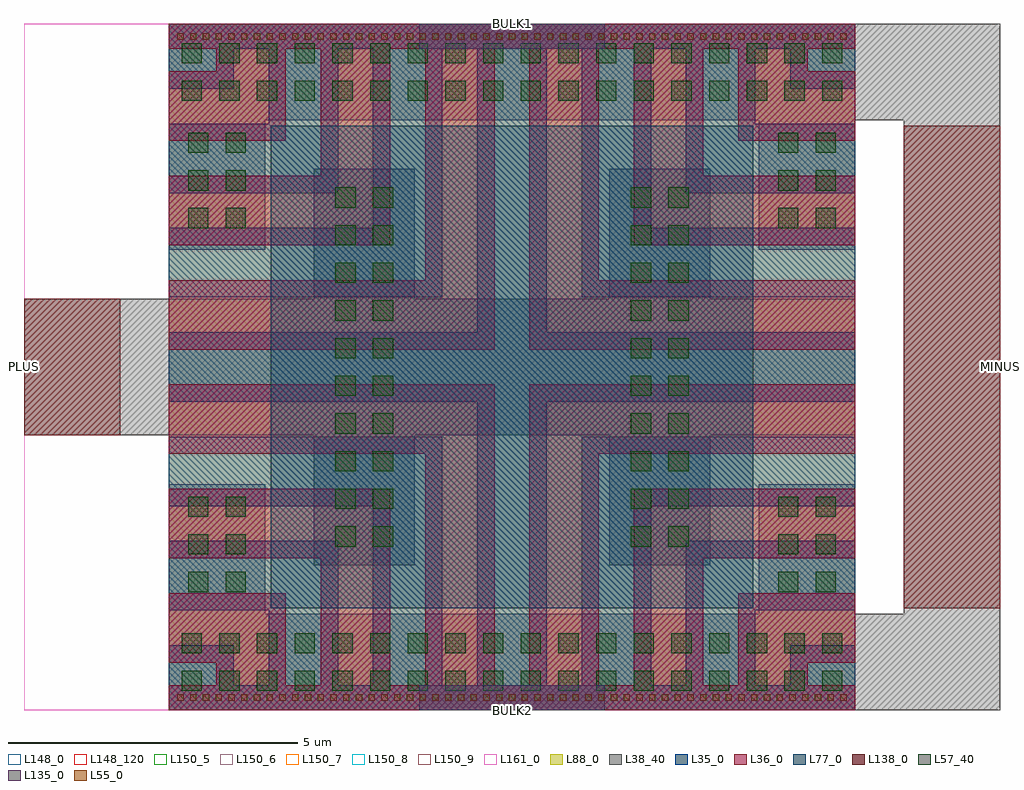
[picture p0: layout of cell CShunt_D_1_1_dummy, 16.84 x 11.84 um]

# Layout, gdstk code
import gdstk
lib = gdstk.Library(unit=1e-6, precision=1e-09)
def R(c, l, rs):  # rectangles x0, y0, x1, y1
    for r in rs: c.add(gdstk.rectangle(r[:2], r[2:], *l))
def A(c, l, x, y, w, h, nx, ny, dx, dy):  # array of equal rectangles
    R(c, l, [(x+i*dx, y+j*dy, x+i*dx+w, y+j*dy+h) for i in range(nx) for j in range(ny)])
def P(c, l, *ps):  # polygons
    for p in ps: c.add(gdstk.Polygon(p, *l))
L35_0 = (35, 0)
L36_0 = (36, 0)
L38_40 = (38, 40)
L55_0 = (55, 0)
L57_40 = (57, 40)
L77_0 = (77, 0)
L88_0 = (88, 0)
L135_0 = (135, 0)
L138_0 = (138, 0)
L148_0 = (148, 0)
L148_120 = (148, 120)
L150_5 = (150, 5)
L150_6 = (150, 6)
L150_7 = (150, 7)
L150_8 = (150, 8)
L150_9 = (150, 9)
L161_0 = (161, 0)

cshunt_d_1_1_dummy = lib.new_cell('CShunt_D_1_1_dummy')
R(cshunt_d_1_1_dummy, L35_0, [(-1.76,-1.76,-0.64,-1.24), (-1.76,-1.76,-0.64,-0.64), (-1.76,-1.76,10.08,-1.33), (-0.04,-1.76,1.16,0.56), (1.76,-1.76,2.96,2.36), (3.56,-1.76,4.76,10.08), (5.36,-1.76,6.56,2.36), (7.16,-1.76,8.36,0.56), (8.96,-1.76,10.08,-1.24), (8.96,-1.76,10.08,-0.64), (-1.76,-0.04,1.16,1.16), (7.16,-0.04,10.08,1.16), (-1.76,1.76,2.96,2.96), (5.36,1.76,10.08,2.96), (-1.76,3.56,10.08,4.76), (-1.76,5.36,2.96,6.56), (5.36,5.36,10.08,6.56), (1.76,5.96,2.96,10.08), (5.36,5.96,6.56,10.08), (-1.76,7.16,1.16,8.36), (7.16,7.16,10.08,8.36), (-0.04,7.76,1.16,10.08), (7.16,7.76,8.36,10.08), (-1.76,8.96,-0.64,10.08), (8.96,8.96,10.08,10.08), (-1.76,9.56,-0.64,10.08), (8.96,9.56,10.08,10.08), (-1.76,9.65,10.08,10.08)])
R(cshunt_d_1_1_dummy, L36_0, [(-1.76,-1.76,10.08,-1.33), (-0.94,-1.76,0.26,-0.34), (0.86,-1.76,2.06,1.46), (2.66,-1.76,3.86,3.26), (4.46,-1.76,5.66,3.26), (6.26,-1.76,7.46,1.46), (8.06,-1.76,9.26,-0.34), (-1.76,-0.94,0.26,0.26), (8.06,-0.94,10.08,0.26), (-1.76,0.86,2.06,2.06), (6.26,0.86,10.08,2.06), (-1.76,2.66,3.86,3.86), (4.46,2.66,10.08,3.86), (-1.76,4.46,3.86,5.66), (4.46,4.46,10.08,5.66), (2.66,5.06,3.86,10.08), (4.46,5.06,5.66,10.08), (-1.76,6.26,2.06,7.46), (6.26,6.26,10.08,7.46), (0.86,6.86,2.06,10.08), (6.26,6.86,7.46,10.08), (-1.76,8.06,0.26,9.26), (8.06,8.06,10.08,9.26), (-0.94,8.66,0.26,10.08), (8.06,8.66,9.26,10.08), (-1.76,9.65,10.08,10.08)])
R(cshunt_d_1_1_dummy, L38_40, [(10.08,-1.76,12.58,-0.1), (10.92,-1.76,12.58,10.08), (0.74,0.74,2.48,2.98), (5.84,0.74,7.58,2.98), (-4.26,2.98,10.08,5.34), (0.74,5.34,2.48,7.58), (0.74,5.34,2.48,7.58), (5.84,5.34,7.58,7.58), (5.84,5.34,7.58,7.58), (10.08,8.42,12.58,10.08)])
P(cshunt_d_1_1_dummy, L38_40, [(-0.1,8.42),(8.42,8.42),(8.42,6.18),(10.08,6.18),(10.08,10.08),(-1.76,10.08),(-1.76,6.18),(-0.1,6.18)],
  [(-1.76,2.14),(-1.76,-1.76),(10.08,-1.76),(10.08,2.14),(8.42,2.14),(8.42,-0.1),(-0.1,-0.1),(-0.1,2.14)])
A(cshunt_d_1_1_dummy, L55_0, -1.615, -1.6, 0.11, 0.11, 53, 2, 0.22, 11.41)
A(cshunt_d_1_1_dummy, L57_40, -1.54, -1.43, 0.35, 0.35, 18, 2, 0.65, 0.65)
A(cshunt_d_1_1_dummy, L57_40, -1.43, 0.275, 0.35, 0.35, 1, 3, 0, 0.65)
A(cshunt_d_1_1_dummy, L57_40, -0.78, 0.275, 0.35, 0.35, 1, 3, 0, 0.65)
A(cshunt_d_1_1_dummy, L57_40, 8.75, 0.275, 0.35, 0.35, 1, 3, 0, 0.65)
A(cshunt_d_1_1_dummy, L57_40, 9.4, 0.275, 0.35, 0.35, 1, 3, 0, 0.65)
A(cshunt_d_1_1_dummy, L57_40, 1.11, 1.06, 0.35, 0.35, 1, 10, 0, 0.65)
A(cshunt_d_1_1_dummy, L57_40, 1.76, 1.06, 0.35, 0.35, 1, 10, 0, 0.65)
A(cshunt_d_1_1_dummy, L57_40, 6.21, 1.06, 0.35, 0.35, 1, 10, 0, 0.65)
A(cshunt_d_1_1_dummy, L57_40, 6.86, 1.06, 0.35, 0.35, 1, 10, 0, 0.65)
A(cshunt_d_1_1_dummy, L57_40, -1.43, 6.555, 0.35, 0.35, 1, 3, 0, 0.65)
A(cshunt_d_1_1_dummy, L57_40, -0.78, 6.555, 0.35, 0.35, 1, 3, 0, 0.65)
A(cshunt_d_1_1_dummy, L57_40, 8.75, 6.555, 0.35, 0.35, 1, 3, 0, 0.65)
A(cshunt_d_1_1_dummy, L57_40, 9.4, 6.555, 0.35, 0.35, 1, 3, 0, 0.65)
A(cshunt_d_1_1_dummy, L57_40, -1.54, 8.75, 0.35, 0.35, 18, 2, 0.65, 0.65)
R(cshunt_d_1_1_dummy, L77_0, [(0,0,8.32,8.32)])
R(cshunt_d_1_1_dummy, L88_0, [(-1.76,-1.76,10.08,10.08)])
R(cshunt_d_1_1_dummy, L135_0, [(2.558,-1.76,5.762,-1.33), (2.558,9.65,5.762,10.08)])
R(cshunt_d_1_1_dummy, L138_0, [(10.92,0,12.58,8.32), (-4.26,2.98,-2.6,5.34)])
R(cshunt_d_1_1_dummy, L148_0, [(-4.26,-1.76,12.58,10.08)])
R(cshunt_d_1_1_dummy, L148_120, [(-4.26,-1.76,12.58,10.08)])
R(cshunt_d_1_1_dummy, L150_5, [(-4.26,-1.76,12.58,10.08)])
R(cshunt_d_1_1_dummy, L150_6, [(-4.26,-1.76,12.58,10.08)])
R(cshunt_d_1_1_dummy, L150_7, [(-4.26,-1.76,12.58,10.08)])
R(cshunt_d_1_1_dummy, L150_8, [(-4.26,-1.76,12.58,10.08)])
R(cshunt_d_1_1_dummy, L150_9, [(-4.26,-1.76,12.58,10.08)])
R(cshunt_d_1_1_dummy, L161_0, [(-4.26,-1.76,12.58,10.08)])
cshunt_d_1_1_dummy.add(gdstk.Label('BULK1', (4.16,10.08), layer=135, texttype=0))
cshunt_d_1_1_dummy.add(gdstk.Label('BULK2', (4.16,-1.76), layer=135, texttype=0))
cshunt_d_1_1_dummy.add(gdstk.Label('PLUS', (-4.26,4.16), layer=138, texttype=0))
cshunt_d_1_1_dummy.add(gdstk.Label('MINUS', (12.58,4.16), layer=138, texttype=0))

lib.write_gds('CShunt_D_1_1_dummy.gds')
